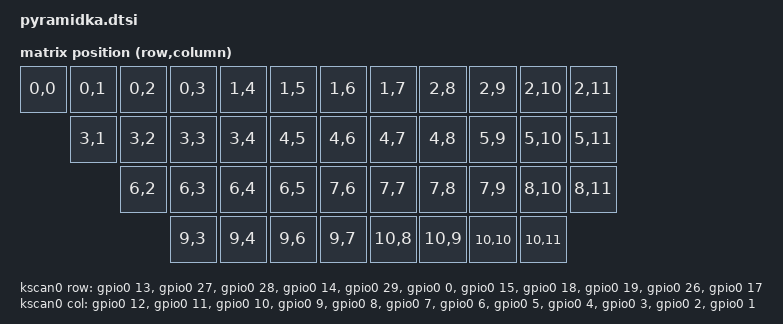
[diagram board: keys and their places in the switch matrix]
/*
 * Copyright (c) 2020 The ZMK Contributors
 *
 * SPDX-License-Identifier: MIT
 */

#include <dt-bindings/zmk/matrix_transform.h>

/ {
	chosen {
		zmk,kscan = &kscan0;
		zmk,matrix_transform = &default_transform;
	};

default_transform: keymap_transform_0 {
	compatible = "zmk,matrix-transform";
	columns = <12>;
	rows = <11>;

        map = <
RC(0,0) RC(0,1) RC(0,2) RC(0,3) 	RC(1,4) RC(1,5) RC(1,6) RC(1,7)		RC(2,8) RC(2,9) RC(2,10) RC(2,11) 
	    RC(3,1) RC(3,2) RC(3,3) RC(3,4)		RC(4,5) RC(4,6) RC(4,7) RC(4,8) 	RC(5,9) RC(5,10) RC(5,11) 
		        RC(6,2) RC(6,3) RC(6,4) RC(6,5)		RC(7,6) RC(7,7) RC(7,8) RC(7,9)		RC(8,10) RC(8,11) 
		                RC(9,3) RC(9,4)	RC(9,6) RC(9,7)		RC(10,8) RC(10,9) RC(10,10) RC(10,11) 
        >;
    };

    kscan0: kscan_0 {
        compatible = "zmk,kscan-gpio-matrix";
        label = "KSCAN";
        diode-direction = "col2row";

        row-gpios
            = <&gpio0 13 (GPIO_ACTIVE_HIGH | GPIO_PULL_DOWN)>
            , <&gpio0 27 (GPIO_ACTIVE_HIGH | GPIO_PULL_DOWN)>
            , <&gpio0 28 (GPIO_ACTIVE_HIGH | GPIO_PULL_DOWN)>
            , <&gpio0 14 (GPIO_ACTIVE_HIGH | GPIO_PULL_DOWN)>
            , <&gpio0 29 (GPIO_ACTIVE_HIGH | GPIO_PULL_DOWN)>
            , <&gpio0 0 (GPIO_ACTIVE_HIGH | GPIO_PULL_DOWN)>
            , <&gpio0 15 (GPIO_ACTIVE_HIGH | GPIO_PULL_DOWN)>
            , <&gpio0 18 (GPIO_ACTIVE_HIGH | GPIO_PULL_DOWN)>
            , <&gpio0 19 (GPIO_ACTIVE_HIGH | GPIO_PULL_DOWN)>
            , <&gpio0 26 (GPIO_ACTIVE_HIGH | GPIO_PULL_DOWN)>
            , <&gpio0 17 (GPIO_ACTIVE_HIGH | GPIO_PULL_DOWN)>
			;

        col-gpios
            = <&gpio0 12 GPIO_ACTIVE_HIGH>
            , <&gpio0 11 GPIO_ACTIVE_HIGH>
            , <&gpio0 10 GPIO_ACTIVE_HIGH>
            , <&gpio0 9 GPIO_ACTIVE_HIGH>
            , <&gpio0 8 GPIO_ACTIVE_HIGH>
            , <&gpio0 7 GPIO_ACTIVE_HIGH>
            , <&gpio0 6 GPIO_ACTIVE_HIGH>
            , <&gpio0 5 GPIO_ACTIVE_HIGH>
            , <&gpio0 4 GPIO_ACTIVE_HIGH>
            , <&gpio0 3 GPIO_ACTIVE_HIGH>
            , <&gpio0 2 GPIO_ACTIVE_HIGH>
            , <&gpio0 1 GPIO_ACTIVE_HIGH>
            ;
    };
};



